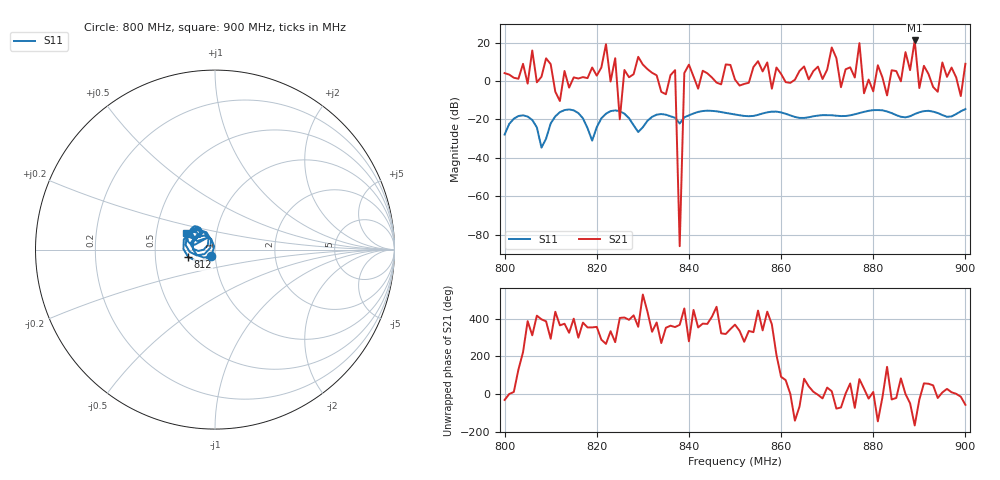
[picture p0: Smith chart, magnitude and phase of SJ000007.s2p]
!File created by NanoVNA-F V2
# Hz S RI R 50
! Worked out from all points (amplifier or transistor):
!   101 points, 800 MHz to 900 MHz, reference 50 ohm
!   highest |S21| = 21.1 dB at 889 MHz (marker M1)
!   |S21| within 3 dB of that: 821.9128 MHz to 822.0545 MHz (141.7 kHz wide, 0.0172 % of centre)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
!   S11 on the Smith chart (normalised r, x): 800 MHz: 0.96, -0.07; 812 MHz: 0.74, -0.06; 900 MHz: 0.71, +0.14
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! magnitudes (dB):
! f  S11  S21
! 800 MHz  -27.8  4.1
! 806 MHz  -20.2  15.9
! 808 MHz  -34.7  2.2
! 812 MHz  -16.2  -10.4
! 817 MHz  -19.4  2.1
! 822 MHz  -17.0  19.2
! 823 MHz  -15.6  -0.2
! 824 MHz  -15.3  11.9
! 825 MHz  -15.7  -19.9
! 826 MHz  -17.0  5.8
! 829 MHz  -26.5  12.6
! 834 MHz  -17.2  -5.6
! 837 MHz  -19.1  5.7
! 838 MHz  -22.1  -85.9
! 839 MHz  -18.9  4.2
! 850 MHz  -17.4  0.8
! 867 MHz  -18.3  5.2
! 884 MHz  -16.7  5.6
! 889 MHz  -17.2  21.1
! 890 MHz  -16.2  -3.6
! 899 MHz  -15.7  -7.8
! 900 MHz  -14.6  9.0
